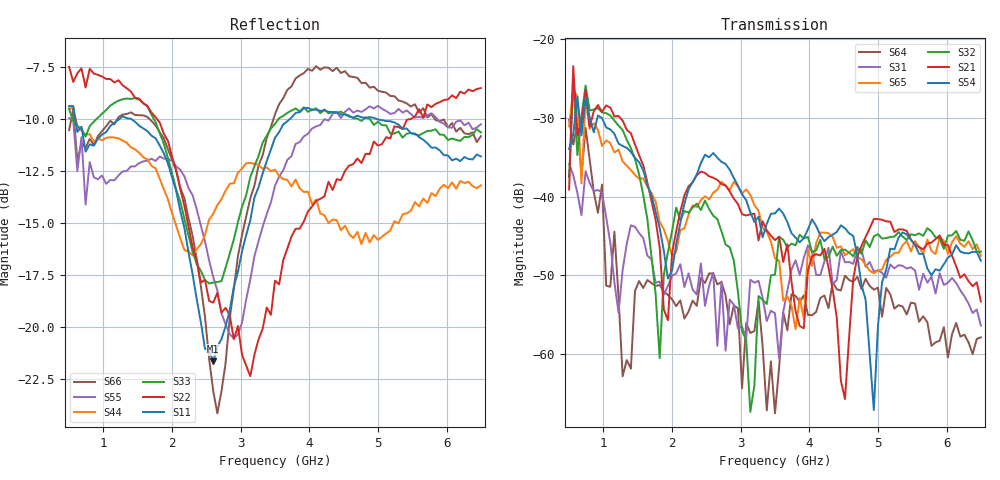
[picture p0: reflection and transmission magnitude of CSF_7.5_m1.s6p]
!Keysight Technologies,M9804A,MY58100912,A.14.10.03
!Date: Thursday, April 27, 2023 10:28:33
!Correction: S11(C  6-Port  )
!S12(C  6-Port  )
!S13(C  6-Port  )
!S14(C  6-Port  )
!S15(C  6-Port  )
!S16(C  6-Port  )
!S21(C  6-Port  )
!S22(C  6-Port  )
!S23(C  6-Port  )
!S24(C  6-Port  )
!S25(C  6-Port  )
!S26(C  6-Port  )
!S31(C  6-Port  )
!S32(C  6-Port  )
!S33(C  6-Port  )
!S34(C  6-Port  )
!S35(C  6-Port  )
!S36(C  6-Port  )
!S41(C  6-Port  )
!S42(C  6-Port  )
!S43(C  6-Port  )
!S44(C  6-Port  )
!S45(C  6-Port  )
!S46(C  6-Port  )
!S51(C  6-Port  )
!S52(C  6-Port  )
!S53(C  6-Port  )
!S54(C  6-Port  )
!S55(C  6-Port  )
!S56(C  6-Port  )
!S61(C  6-Port  )
!S62(C  6-Port  )
!S63(C  6-Port  )
!S64(C  6-Port  )
!S65(C  6-Port  )
!S66(C  6-Port  )
!S6P File: Measurement: :
# Hz S  RI  R 50
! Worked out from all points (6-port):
!   101 points, 500 MHz to 6.5 GHz, reference 50 ohm
!   strongest paths, dB at 500 MHz, 2 GHz, 3.5 GHz, 5 GHz, 6.5 GHz:
!     S54: -33.9, -49.4, -42.1, -56.4, -48.1
!     S21: -39.1, -47.2, -45.5, -42.8, -53.3
!     S32: -37.5, -44.3, -49.9, -44.8, -47.0
!     S65: -31.0, -47.5, -47.8, -49.4, -47.5
!     S31: -35.8, -50.0, -54.8, -49.3, -56.4
!     S64: -30.2, -53.0, -67.5, -51.5, -57.9
!   lowest |S11| = -21.7 dB at 2.6 GHz (marker M1), VSWR 1.18, Z = 42.6 + j2.07 ohm
!   |S11| at or under -10 dB: 589.5 MHz to 1.237 GHz (647.5 MHz wide, 70.9 % of centre); 1.401 GHz to 3.72 GHz (2.319 GHz wide, 90.6 % of centre); 4.972 GHz to end of sweep
